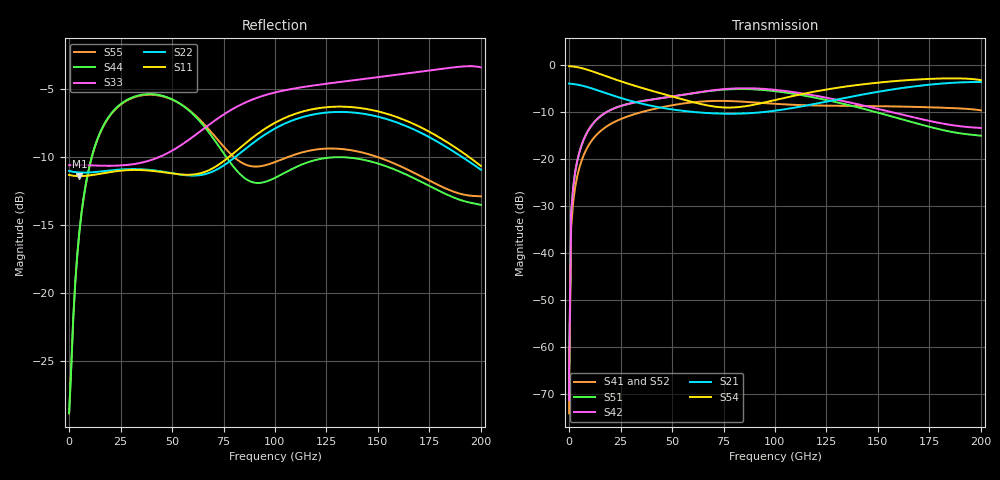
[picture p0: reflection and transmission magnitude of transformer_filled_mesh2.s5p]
! Created with skrf 2.2.0 (http://scikit-rf.org).
# GHz S DB R 50.0
! Port[1] = P1
! Port[2] = P2
! Port[3] = P3
! Port[4] = P4
! Port[5] = P5
!freq dBS11 angS11 dBS12 angS12 dBS13 angS13
! dBS14 angS14 dBS15 angS15
! dBS21 angS21 dBS22 angS22 dBS23 angS23
! dBS24 angS24 dBS25 angS25
! dBS31 angS31 dBS32 angS32 dBS33 angS33
! dBS34 angS34 dBS35 angS35
! dBS41 angS41 dBS42 angS42 dBS43 angS43
! dBS44 angS44 dBS45 angS45
! dBS51 angS51 dBS52 angS52 dBS53 angS53
! dBS54 angS54 dBS55 angS55
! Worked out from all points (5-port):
!   202 points, 10 MHz to 200 GHz, reference 50 ohm
!   strongest paths, dB at 10 MHz, 49 GHz, 100 GHz, 150 GHz, 200 GHz:
!     S54: -0.3, -6.6, -7.5, -3.8, -3.3
!     S21: -4.0, -9.4, -9.8, -5.8, -3.7
!     S42: -71.2, -6.8, -5.3, -9.4, -13.5
!     S51: -71.2, -6.8, -5.6, -10.2, -15.1
!     S41: -74.1, -8.7, -8.3, -8.8, -9.7
!     S52: -74.0, -8.7, -8.4, -9.0, -10.0
!   lowest |S11| = -11.4 dB at 5 GHz (marker M1), VSWR 1.74, Z = 30.1 + j8.68 ohm
!   |S11| at or under -10 dB: start of sweep to 77.5 GHz; 194.4 GHz to end of sweep
